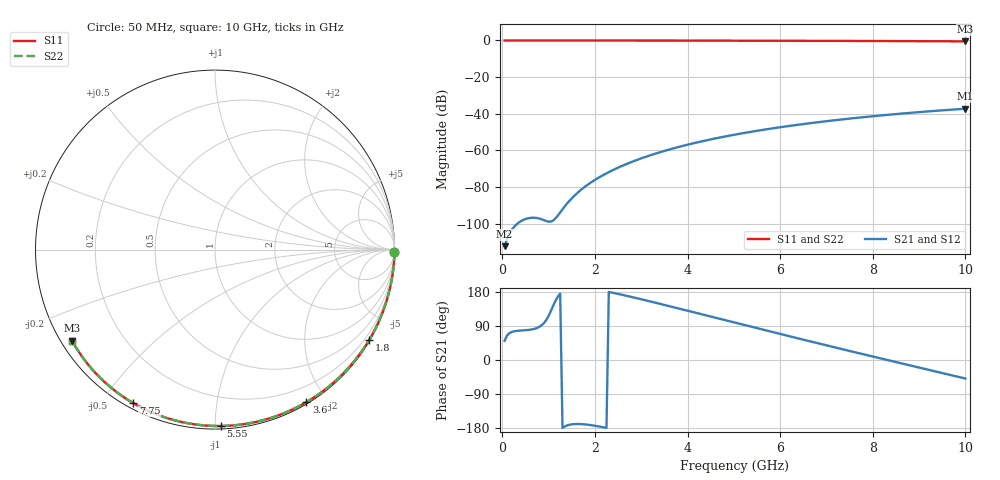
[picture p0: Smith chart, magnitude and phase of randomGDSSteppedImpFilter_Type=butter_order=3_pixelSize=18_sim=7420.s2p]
! freq	dB(S11)	phase(S11)	dB(S12)	phase(S12)
!  dB(S21)	phase(S21)	dB(S22)	phase(S22)
!S-par simulation data
#  GHz  S  DB  R 50
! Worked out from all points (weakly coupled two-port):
!   200 points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, 50 MHz to 10 GHz, reference 50 ohm
!   highest |S21| = -37.25 dB at 10 GHz (marker M1); lowest = -112.2 dB at 50 MHz (marker M2)
!   lowest |S11| = -0.5 dB at 10 GHz (marker M3), VSWR 34.93, Z = 1.55 - j14.6 ohm
!   |S11| at or under -10 dB: nowhere
!   |S22| runs from -0.5 to 0.0 dB; largest |S21 - S12| = 0
!   S11 on the Smith chart (normalised r, x): 50 MHz: open; 1.8 GHz: 0.03, -3.69; 3.6 GHz: 0.02, -1.76; 5.55 GHz: 0.02, -1.03; 7.75 GHz: 0.02, -0.60; 10 GHz: 0.03, -0.29
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0.05  -0.00 -0.9  -112.20 50.9  -112.20 50.9  -0.00 -0.9
0.45  -0.01 -7.7  -97.91 78.2  -97.91 78.2  -0.01 -7.7
0.9  -0.02 -15.3  -98.01 97.6  -98.01 97.6  -0.02 -15.3
1.3  -0.03 -22.0  -92.08 -179.3  -92.08 -179.3  -0.03 -22.0
1.75  -0.04 -29.5  -80.45 -169.6  -80.45 -169.6  -0.04 -29.5
1.8  -0.04 -30.3  -79.49 -170.1  -79.49 -170.1  -0.04 -30.3
1.95  -0.04 -32.8  -76.86 -172.5  -76.86 -172.5  -0.04 -32.8
2.1  -0.05 -35.3  -74.55 -175.6  -74.55 -175.6  -0.05 -35.3
2.3  -0.05 -38.5  -71.80 179.7  -71.80 179.7  -0.05 -38.5
2.5  -0.05 -41.8  -69.38 174.4  -69.38 174.4  -0.05 -41.8
2.9  -0.06 -48.2  -65.24 163.2  -65.24 163.2  -0.06 -48.2
3.4  -0.07 -56.0  -61.00 148.4  -61.00 148.4  -0.07 -56.0
3.6  -0.08 -59.1  -59.52 142.4  -59.52 142.4  -0.08 -59.1
4.3  -0.10 -69.8  -55.07 120.9  -55.07 120.9  -0.10 -69.8
5.05  -0.12 -80.9  -51.23 97.8  -51.23 97.8  -0.12 -80.9
5.55  -0.14 -88.0  -49.07 82.5  -49.07 82.5  -0.14 -88.0
6.1  -0.17 -95.8  -46.97 65.7  -46.97 65.7  -0.17 -95.8
6.7  -0.20 -104.0  -44.95 47.6  -44.95 47.6  -0.20 -104.0
7.75  -0.27 -118.1  -41.96 16.5  -41.96 16.5  -0.27 -118.1
8.35  -0.32 -126.0  -40.49 -1.1  -40.49 -1.1  -0.32 -126.0
9.2  -0.41 -137.1  -38.68 -25.7  -38.68 -25.7  -0.41 -137.1
10  -0.50 -147.5  -37.25 -48.9  -37.25 -48.9  -0.50 -147.5
